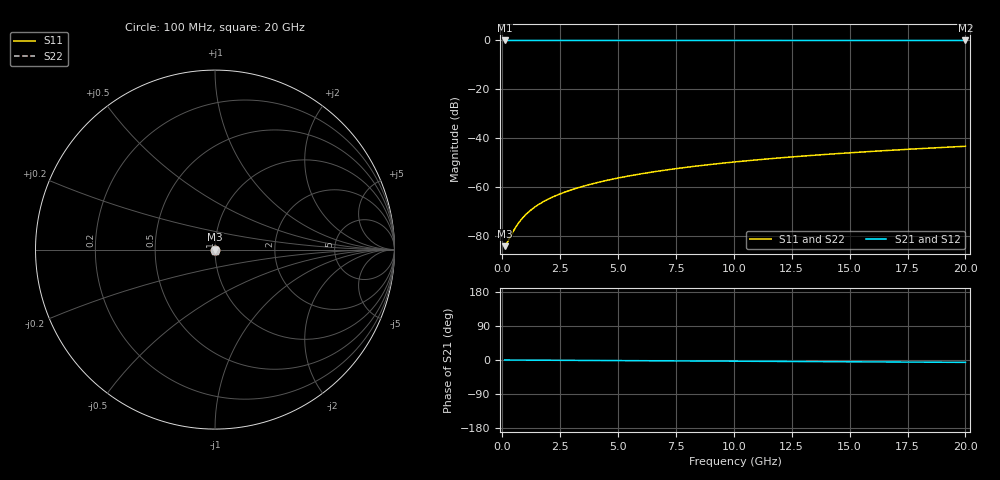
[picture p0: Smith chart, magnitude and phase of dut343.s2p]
! Touchstone file exported from HFSS 2026.1.0
!  File:  C:/ffzhzh/LocalFiles/Ansys_Project_Files/temp_train_TSV_343_1783018901_53980.aedt
!  Generated:  03:03:13 AM Jul  3, 2026
!  Design:  TSV
!  Project:  temp_train_TSV_343_1783018901_53980
! Variables:
!  h_bsmrdl = 2um
!  h_ox = 20um
!  h_rdl = 5um
!  h_sub = 58.69um
!  h_tmrdl = 5um
!  h_tsv = 58.69um
!  h_via = 3um
!  l_bsmrdl = 300um
!  l_sub = 428.18um
!  l_tmrdl = 200um
!  m_sub = 200um
!  pitch = 52.32um
!  r_tsv = 14.09um
!  s_tmrdl = 10um
!  w_bsmrdl = 18um
!  w_sub = 500um
!  w_tmrdl = 12um
!  x_tsv_center1 = 206um
!  x_tsv_center2 = 524um
!  x_tsv_center3 = 736um
!  x_tsv_center4 = 1054um
!  x_tsv_center5 = 1266um
!  x_tsv_center6 = 1584um
# GHz S MA R 50.000000
! Terminal data exported
! Port[1] = TSV1_1_T1
! Port[2] = TSV1_1_T2
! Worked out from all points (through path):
!   200 points, 100 MHz to 20 GHz, reference 50 ohm
!   highest |S21| = 0.00 dB at 100 MHz (marker M1); lowest = 0.0 dB at 20 GHz (marker M2)
!   lowest |S11| = -84.0 dB at 100 MHz (marker M3), VSWR 1.00, Z = 50 - j0.000309 ohm
!   |S11| at or under -10 dB: start of sweep to end of sweep
!   |S22| runs from -84.0 to -43.2 dB; largest |S21 - S12| = 3.2e-15
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0.1  6.32e-05 -2.8  0.9999 -0.0  0.9999 -0.0  6.32e-05 -2.8
! Gamma 0 0 0 0
! Port Impedance 50 0 50 0
0.3  8.954e-05 -12.2  0.9999 -0.1  0.9999 -0.1  8.954e-05 -12.2
0.4  0.0001099 -18.1  0.9999 -0.1  0.9999 -0.1  0.0001099 -18.1
0.6  0.0001594 -29.4  0.9999 -0.2  0.9999 -0.2  0.0001594 -29.4
0.7  0.0001868 -34.2  0.9998 -0.2  0.9998 -0.2  0.0001868 -34.2
0.9  0.0002446 -42.3  0.9998 -0.3  0.9998 -0.3  0.0002446 -42.3
1.2  0.0003348 -51.2  0.9998 -0.4  0.9998 -0.4  0.0003348 -51.2
1.4  0.0003959 -55.5  0.9998 -0.4  0.9998 -0.4  0.0003959 -55.5
1.6  0.0004574 -58.9  0.9998 -0.5  0.9998 -0.5  0.0004574 -58.9
2  0.0005813 -63.8  0.9997 -0.6  0.9997 -0.6  0.0005813 -63.8
2.4  0.0007065 -67.3  0.9997 -0.8  0.9997 -0.8  0.0007065 -67.3
2.9  0.000865 -70.3  0.9997 -0.9  0.9997 -0.9  0.0008651 -70.3
3.5  0.001058 -72.9  0.9997 -1.1  0.9997 -1.1  0.001058 -72.9
4.2  0.001288 -75.0  0.9996 -1.3  0.9996 -1.3  0.001288 -75.0
5  0.001556 -76.8  0.9996 -1.6  0.9996 -1.6  0.001556 -76.8
5.9  0.001863 -78.5  0.9996 -1.9  0.9996 -1.9  0.001863 -78.5
6.8  0.002174 -79.8  0.9995 -2.1  0.9995 -2.1  0.002174 -79.8
8.3  0.002698 -81.6  0.9995 -2.6  0.9995 -2.6  0.002698 -81.6
10.1  0.003335 -83.4  0.9994 -3.2  0.9994 -3.2  0.003335 -83.4
13.4  0.004513 -85.9  0.9993 -4.2  0.9993 -4.2  0.004513 -85.9
16.7  0.005706 -87.9  0.9993 -5.2  0.9993 -5.2  0.005706 -87.9
20  0.006917 -89.6  0.9992 -6.3  0.9992 -6.3  0.006917 -89.6
